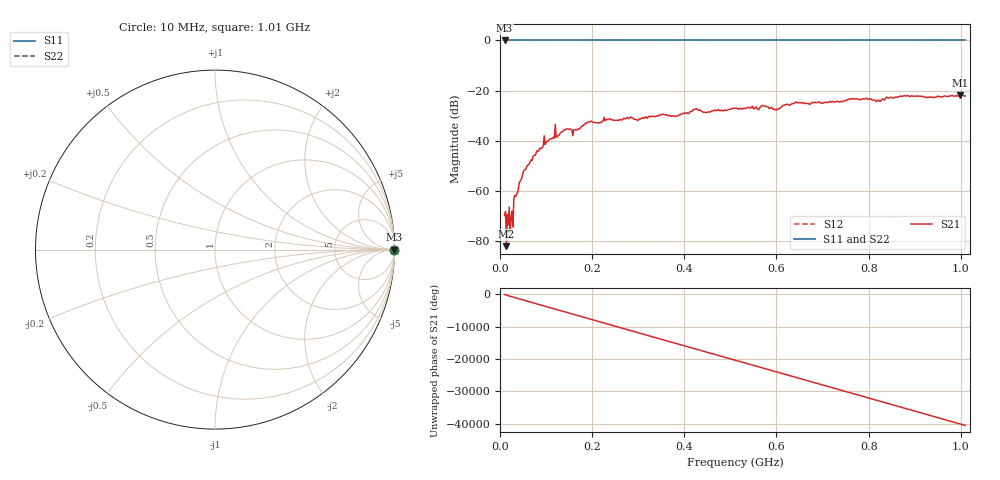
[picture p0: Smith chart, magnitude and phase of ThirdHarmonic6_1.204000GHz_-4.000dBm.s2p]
! 8/16/2025 12:29:11 PM
! C:\ANRITSUVNA\TEMP\TEMP.S2P
! CHANNEL.1
! TR.MEASUREMENT
! RAW.DATA
! RF.CORRECTION.OFF
! AVERAGING.OFF
! IF.BANDWIDTH: 5KHZ
! SWEEPTYPE:  FREQ.SWEEP(Linear)
! Reference Plane Port Info
! PORT:  PORT1  PORT2
! DISTANCE:  0  m  0  m
! TIME:  0  s  0  s
! PHASE.OFFSET:  0  deg.  0  deg.
! LOSS:  0  dB  0  dB
! REF.LOSS:  0  dB  0  dB
! REF.FREQ:  0  Hz  0  Hz
! Power Info
! POWER:  -20  dBm  -20  dBm
! EFF.POWER:  -20  dBm  -20  dBm
! SOURCE.ATTEN:  0  dB  0  dB
! TEST.ATTEN:  0  dB  0  dB
# GHZ S RI R 50.0
! FREQ.GHZ  S11RE  S11IM  S21RE  S21IM  S12RE  S12IM  S22RE  S22IM
!; PortSelection: Port_12
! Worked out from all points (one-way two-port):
!   501 points, 10 MHz to 1.01 GHz, reference 50 ohm
!   highest |S21| = -21.70 dB at 998 MHz (marker M1); lowest = -81.9 dB at 14 MHz (marker M2)
!   lowest |S11| = 0.0 dB at 10 MHz (marker M3)
!   |S11| at or under -10 dB: nowhere
!   |S22| runs from 0.0 to 0.0 dB; largest |S21 - S12| = 1.1
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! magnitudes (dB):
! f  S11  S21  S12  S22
! 10 MHz  0.0  -69.7  0.0  0.0
! 14 MHz  0.0  -81.9  0.0  0.0
! 16 MHz  0.0  -69.3  0.0  0.0
! 18 MHz  0.0  -73.5  0.0  0.0
! 20 MHz  0.0  -66.3  0.0  0.0
! 26 MHz  0.0  -68.0  0.0  0.0
! 34 MHz  0.0  -62.1  0.0  0.0
! 46 MHz  0.0  -55.4  0.0  0.0
! 76 MHz  0.0  -45.8  0.0  0.0
! 116 MHz  0.0  -38.5  0.0  0.0
! 178 MHz  0.0  -34.0  0.0  0.0
! 196 MHz  0.0  -32.4  0.0  0.0
! 344 MHz  0.0  -30.0  0.0  0.0
! 424 MHz  0.0  -27.4  0.0  0.0
! 510 MHz  0.0  -27.0  0.0  0.0
! 572 MHz  0.0  -26.0  0.0  0.0
! 598 MHz  0.0  -27.6  0.0  0.0
! 642 MHz  0.0  -24.5  0.0  0.0
! 678 MHz  0.0  -24.6  0.0  0.0
! 844 MHz  0.0  -23.0  0.0  0.0
! 998 MHz  0.0  -21.7  0.0  0.0
! 1.01 GHz  0.0  -22.1  0.0  0.0
